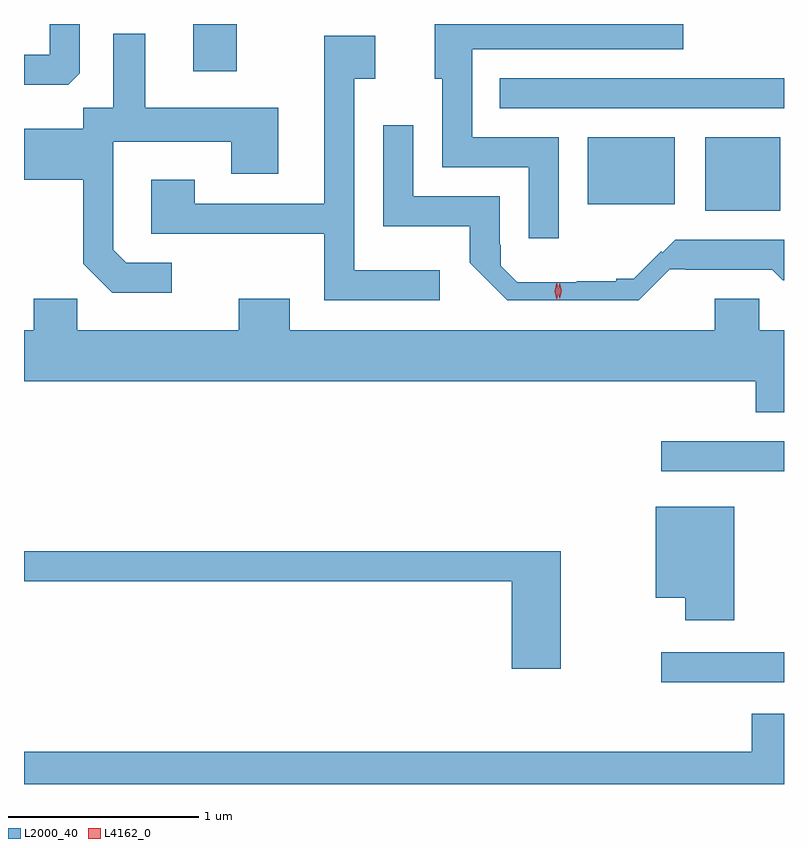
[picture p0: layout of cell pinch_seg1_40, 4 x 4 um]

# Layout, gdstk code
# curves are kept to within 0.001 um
import gdstk
lib = gdstk.Library(unit=1e-6, precision=1e-09)
def R(c, l, rs):  # rectangles x0, y0, x1, y1
    for r in rs: c.add(gdstk.rectangle(r[:2], r[2:], *l))
def P(c, l, *ps):  # polygons
    for p in ps: c.add(gdstk.Polygon(p, *l))
L2000_40 = (2000, 40)
L4162_0 = (4162, 0)

pinch_seg1_40 = lib.new_cell('pinch_seg1_40')
R(pinch_seg1_40, L2000_40, [(1386.733,900.211,1387.38,900.369), (1386.733,901.321,1387.38,901.479), (1386.966,902.691,1387.359,903.079), (1386.346,902.726,1386.804,903.079), (1385.883,903.231,1387.38,903.389), (1384.271,903.426,1384.499,903.675)])
P(pinch_seg1_40, L2000_40, [(1383.674,903.417),(1383.674,903.675),(1383.516,903.675),(1383.516,903.514),(1383.38,903.514),(1383.38,903.356),(1383.614,903.356)],
  [(1386.194,903.079),(1385.739,903.079),(1385.739,903.541),(1386.849,903.541),(1386.849,903.675),(1385.541,903.675),(1385.541,903.386),(1385.581,903.386),(1385.581,902.921),(1386.036,902.921),(1386.036,902.548),(1386.194,902.548)],
  [(1384.158,902.419),(1383.917,902.419),(1383.849,902.487),(1383.849,903.056),(1384.471,903.056),(1384.471,902.886),(1384.719,902.886),(1384.719,903.234),(1384.019,903.234),(1384.019,903.623),(1383.851,903.623),(1383.851,903.234),(1383.691,903.234),(1383.691,903.124),(1383.38,903.124),(1383.38,902.856),(1383.691,902.856),(1383.691,902.414),(1383.844,902.261),(1384.158,902.261)],
  [(1385.568,902.379),(1385.119,902.379),(1385.119,903.386),(1385.229,903.386),(1385.229,903.614),(1384.961,903.614),(1384.961,902.729),(1384.279,902.729),(1384.279,902.854),(1384.051,902.854),(1384.051,902.571),(1384.961,902.571),(1384.961,902.221),(1385.568,902.221)],
  [(1386.689,902.296),(1386.779,902.385),(1386.86,902.385),(1386.86,902.381),(1387.319,902.381),(1387.374,902.326),(1387.38,902.326),(1387.38,902.539),(1386.807,902.539),(1386.74,902.472),(1386.733,902.479),(1386.589,902.334),(1386.497,902.334),(1386.497,902.322),(1386.288,902.322),(1386.288,902.317),(1385.976,902.317),(1385.89,902.403),(1385.89,902.513),(1385.884,902.513),(1385.884,902.769),(1385.429,902.769),(1385.429,903.143),(1385.271,903.143),(1385.271,902.611),(1385.726,902.611),(1385.726,902.419),(1385.923,902.222),(1386.615,902.222)],
  [(1387.38,902.064),(1387.249,902.064),(1387.249,902.229),(1387.016,902.229),(1387.016,902.064),(1384.779,902.064),(1384.779,902.229),(1384.511,902.229),(1384.511,902.064),(1383.659,902.064),(1383.659,902.229),(1383.431,902.229),(1383.431,902.064),(1383.38,902.064),(1383.38,901.796),(1387.231,901.796),(1387.231,901.631),(1387.38,901.631)],
  [(1387.119,901.134),(1386.706,901.134),(1386.706,900.656),(1386.861,900.656),(1386.861,900.536),(1387.119,900.536)],
  [(1386.204,900.899),(1383.38,900.899),(1383.38,900.741),(1385.946,900.741),(1385.946,900.281),(1386.204,900.281)],
  [(1387.38,900.044),(1387.211,900.044),(1387.211,899.844),(1383.38,899.844),(1383.38,899.675),(1387.38,899.675)])
P(pinch_seg1_40, L4162_0, [(1386.2,902.23),(1386.2,902.23),(1386.19,902.27),(1386.199,902.311),(1386.2,902.311),(1386.2,902.311),(1386.21,902.27),(1386.201,902.23)],
  [(1386.184,902.222),(1386.183,902.223),(1386.174,902.269),(1386.184,902.316),(1386.184,902.317),(1386.184,902.316),(1386.194,902.269),(1386.184,902.223)])

lib.write_gds('pinch_seg1_40.gds')
